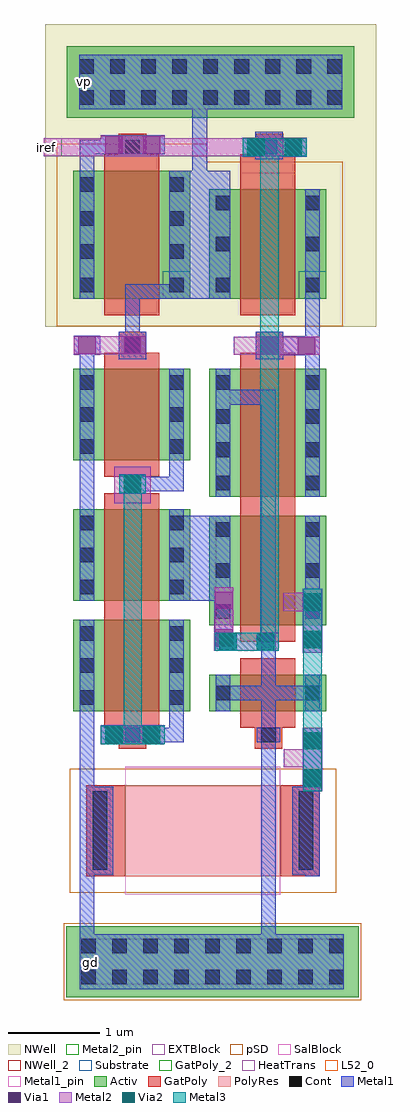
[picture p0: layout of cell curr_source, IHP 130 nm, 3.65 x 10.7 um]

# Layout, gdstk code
from math import pi, radians
import gdstk
lib = gdstk.Library(unit=1e-6, precision=1e-09)
def R(c, l, rs):  # rectangles x0, y0, x1, y1
    for r in rs: c.add(gdstk.rectangle(r[:2], r[2:], *l))
def A(c, l, x, y, w, h, nx, ny, dx, dy):  # array of equal rectangles
    R(c, l, [(x+i*dx, y+j*dy, x+i*dx+w, y+j*dy+h) for i in range(nx) for j in range(ny)])
Activ = (1, 0)
GatPoly = (5, 0)
GatPoly_2 = (5, 2)
Cont = (6, 0)
Metal1 = (8, 0)
Metal1_pin = (8, 2)
Metal2 = (10, 0)
Metal2_pin = (10, 2)
pSD = (14, 0)
Via1 = (19, 0)
SalBlock = (28, 0)
Via2 = (29, 0)
Metal3 = (30, 0)
NWell = (31, 0)
NWell_2 = (31, 2)
Substrate = (40, 0)
HeatTrans = (51, 0)
L52_0 = (52, 0)
EXTBlock = (111, 0)
PolyRes = (128, 0)

via_16 = lib.new_cell('Via$16')
R(via_16, Metal2, [(-0.35,-0.1,0.35,0.1)])
R(via_16, Via2, [(-0.3,-0.095,-0.11,0.095), (0.11,-0.095,0.3,0.095)])
R(via_16, Metal3, [(-0.35,-0.1,0.35,0.1)])

via = lib.new_cell('Via')
R(via, Metal2, [(-0.145,-0.1,0.145,0.1)])
R(via, Via2, [(-0.095,-0.095,0.095,0.095)])
R(via, Metal3, [(-0.145,-0.1,0.145,0.1)])

via_17 = lib.new_cell('Via$17')
R(via_17, Metal1, [(-0.35,-0.105,0.35,0.105)])
R(via_17, Metal2, [(-0.35,-0.1,0.35,0.1)])
R(via_17, Via1, [(-0.3,-0.095,-0.11,0.095), (0.11,-0.095,0.3,0.095)])

nmos = lib.new_cell('nmos')
R(nmos, Activ, [(0,0,0.3,0.3), (0,0,1.28,1.2), (0.98,0,1.28,0.3)])
R(nmos, GatPoly, [(0.34,-0.18,0.94,1.38)])
R(nmos, GatPoly_2, [(0.34,-0.18,0.94,1.38)])
A(nmos, Cont, 0.07, 0.07, 0.16, 0.16, 1, 3, 0, 0.45)
A(nmos, Cont, 1.05, 0.07, 0.16, 0.16, 1, 3, 0, 0.45)
R(nmos, Metal1, [(0.07,0,0.23,1.2), (1.05,0,1.21,1.2)])
R(nmos, Metal1_pin, [(0.07,0,0.23,1.2), (1.05,0,1.21,1.2)])
R(nmos, HeatTrans, [(0.34,-0.18,0.94,1.38)])
nmos.add(gdstk.Label('nmos', (0.64,0.6), layer=63, texttype=0))
nmos.add(gdstk.Label('nmos', (0.64,0.6), layer=51, texttype=0))

via_18 = lib.new_cell('Via$18')
R(via_18, Metal1, [(-0.35,-0.105,0.35,0.105)])
R(via_18, Metal2, [(-0.35,-0.1,0.35,0.1)])
R(via_18, Via1, [(-0.3,-0.095,-0.11,0.095), (0.11,-0.095,0.3,0.095)])

via_8 = lib.new_cell('Via$8')
R(via_8, Metal1, [(-0.145,-0.105,0.145,0.105)])
R(via_8, Metal2, [(-0.145,-0.1,0.145,0.1)])
R(via_8, Via1, [(-0.095,-0.095,0.095,0.095)])

via_19 = lib.new_cell('Via$19')
R(via_19, Metal1, [(-0.35,-0.105,0.35,0.105)])
R(via_19, Metal2, [(-0.35,-0.1,0.35,0.1)])
R(via_19, Via1, [(-0.3,-0.095,-0.11,0.095), (0.11,-0.095,0.3,0.095)])

pmos_1 = lib.new_cell('pmos$1')
R(pmos_1, Activ, [(0,0,0.3,0.3), (0,0,1.28,1.4), (0.98,0,1.28,0.3)])
R(pmos_1, GatPoly, [(0.34,-0.18,0.94,1.58), (0.34,-0.18,0.94,1.58)])
A(pmos_1, Cont, 0.07, 0.07, 0.16, 0.16, 1, 3, 0, 0.365)
A(pmos_1, Cont, 1.05, 0.07, 0.16, 0.16, 1, 3, 0, 0.365)
R(pmos_1, Cont, [(0.07,1.17,0.23,1.33), (1.05,1.17,1.21,1.33)])
R(pmos_1, Metal1, [(0.07,0,0.23,1.4), (0.07,0,0.23,1.4), (1.05,0,1.21,1.4), (1.05,0,1.21,1.4)])
R(pmos_1, pSD, [(-0.18,-0.3,1.46,1.7)])
R(pmos_1, NWell, [(-0.31,-0.31,1.59,1.71)])
R(pmos_1, Substrate, [(0.98,0,1.28,0.3)])
R(pmos_1, HeatTrans, [(0.34,-0.18,0.94,1.58)])
pmos_1.add(gdstk.Label('pmos', (0.64,0.7), layer=63, texttype=0))
pmos_1.add(gdstk.Label('pmos', (0.64,0.7), layer=51, texttype=0))

via_11 = lib.new_cell('Via$11')
R(via_11, Metal1, [(-0.35,-0.105,0.35,0.105)])
R(via_11, Metal2, [(-0.35,-0.1,0.35,0.1)])
R(via_11, Via1, [(-0.3,-0.095,-0.11,0.095), (0.11,-0.095,0.3,0.095)])

via_14 = lib.new_cell('Via$14')
R(via_14, Metal2, [(-0.35,-0.1,0.35,0.1)])
R(via_14, Via2, [(-0.3,-0.095,-0.11,0.095), (0.11,-0.095,0.3,0.095)])
R(via_14, Metal3, [(-0.35,-0.1,0.35,0.1)])

via_7 = lib.new_cell('Via$7')
R(via_7, Metal1, [(-0.145,-0.105,0.145,0.105)])
R(via_7, Metal2, [(-0.145,-0.1,0.145,0.1)])
R(via_7, Via1, [(-0.095,-0.095,0.095,0.095)])

via_6 = lib.new_cell('Via$6')
R(via_6, Metal1, [(-0.145,-0.105,0.145,0.105)])
R(via_6, Metal2, [(-0.145,-0.1,0.145,0.1)])
R(via_6, Via1, [(-0.095,-0.095,0.095,0.095)])

pmos = lib.new_cell('pmos')
R(pmos, Activ, [(0,0,0.3,0.3), (0,0,1.28,1.2), (0.98,0,1.28,0.3)])
R(pmos, GatPoly, [(0.34,-0.18,0.94,1.38), (0.34,-0.18,0.94,1.38)])
A(pmos, Cont, 0.07, 0.07, 0.16, 0.16, 1, 3, 0, 0.45)
A(pmos, Cont, 1.05, 0.07, 0.16, 0.16, 1, 3, 0, 0.45)
R(pmos, Metal1, [(0.07,0,0.23,1.2), (0.07,0,0.23,1.2), (1.05,0,1.21,1.2), (1.05,0,1.21,1.2)])
R(pmos, pSD, [(-0.18,-0.3,1.46,1.5)])
R(pmos, NWell, [(-0.31,-0.31,1.59,1.51)])
R(pmos, Substrate, [(0.98,0,1.28,0.3)])
R(pmos, HeatTrans, [(0.34,-0.18,0.94,1.38)])
pmos.add(gdstk.Label('pmos', (0.64,0.6), layer=63, texttype=0))
pmos.add(gdstk.Label('pmos', (0.64,0.6), layer=51, texttype=0))

ptap1 = lib.new_cell('ptap1')
R(ptap1, Activ, [(0,0,3.2,0.78)])
A(ptap1, Cont, 0.16, 0.14, 0.16, 0.16, 9, 2, 0.34, 0.34)
R(ptap1, Metal1, [(0.16,0.09,3.04,0.69), (0.16,0.14,3.04,0.64)])
R(ptap1, Metal1_pin, [(0.16,0.14,3.04,0.64)])
R(ptap1, pSD, [(-0.03,-0.03,3.23,0.81)])
R(ptap1, Substrate, [(0,0,3.2,0.78)])
ptap1.add(gdstk.Label('sub!', (1.6,0.01), layer=63, texttype=0))
ptap1.add(gdstk.Label('sub!', (1.6,0.01), layer=40, texttype=0))

nmos_2 = lib.new_cell('nmos$2')
R(nmos_2, Activ, [(0,0,0.3,0.3), (0,0,1.28,1.4), (0.98,0,1.28,0.3)])
R(nmos_2, GatPoly, [(0.34,-0.18,0.94,1.58)])
R(nmos_2, GatPoly_2, [(0.34,-0.18,0.94,1.58)])
A(nmos_2, Cont, 0.07, 0.07, 0.16, 0.16, 1, 3, 0, 0.365)
A(nmos_2, Cont, 1.05, 0.07, 0.16, 0.16, 1, 3, 0, 0.365)
R(nmos_2, Cont, [(0.07,1.17,0.23,1.33), (1.05,1.17,1.21,1.33)])
R(nmos_2, Metal1, [(0.07,0,0.23,1.4), (1.05,0,1.21,1.4)])
R(nmos_2, Metal1_pin, [(0.07,0,0.23,1.4), (1.05,0,1.21,1.4)])
R(nmos_2, HeatTrans, [(0.34,-0.18,0.94,1.58)])
nmos_2.add(gdstk.Label('nmos', (0.64,0.7), layer=63, texttype=0))
nmos_2.add(gdstk.Label('nmos', (0.64,0.7), layer=51, texttype=0))

via_12 = lib.new_cell('Via$12')
R(via_12, Metal1, [(-0.35,-0.105,0.35,0.105)])
R(via_12, Metal2, [(-0.35,-0.1,0.35,0.1)])
R(via_12, Via1, [(-0.3,-0.095,-0.11,0.095), (0.11,-0.095,0.3,0.095)])

nmos_1 = lib.new_cell('nmos$1')
R(nmos_1, Activ, [(0,0,0.3,0.3), (0,0,1.28,1), (0.98,0,1.28,0.3)])
R(nmos_1, GatPoly, [(0.34,-0.18,0.94,1.18)])
R(nmos_1, GatPoly_2, [(0.34,-0.18,0.94,1.18)])
A(nmos_1, Cont, 0.07, 0.07, 0.16, 0.16, 1, 3, 0, 0.35)
A(nmos_1, Cont, 1.05, 0.07, 0.16, 0.16, 1, 3, 0, 0.35)
R(nmos_1, Metal1, [(0.07,0,0.23,1), (1.05,0,1.21,1)])
R(nmos_1, Metal1_pin, [(0.07,0,0.23,1), (1.05,0,1.21,1)])
R(nmos_1, HeatTrans, [(0.34,-0.18,0.94,1.18)])
nmos_1.add(gdstk.Label('nmos', (0.64,0.5), layer=63, texttype=0))
nmos_1.add(gdstk.Label('nmos', (0.64,0.5), layer=51, texttype=0))

via_1 = lib.new_cell('Via$1')
R(via_1, GatPoly, [(-0.15,-0.15,0.15,0.15)])
R(via_1, Cont, [(-0.08,-0.08,0.08,0.08)])
R(via_1, Metal1, [(-0.13,-0.08,0.13,0.08)])

nmos_3 = lib.new_cell('nmos$3')
R(nmos_3, Activ, [(0,0,0.3,0.3), (0,0,1.28,0.4), (0.98,0,1.28,0.3)])
R(nmos_3, GatPoly, [(0.34,-0.18,0.94,0.58)])
R(nmos_3, GatPoly_2, [(0.34,-0.18,0.94,0.58)])
R(nmos_3, Cont, [(0.07,0.12,0.23,0.28), (1.05,0.12,1.21,0.28)])
R(nmos_3, Metal1, [(0.07,0,0.23,0.4), (1.05,0,1.21,0.4)])
R(nmos_3, Metal1_pin, [(0.07,0,0.23,0.4), (1.05,0,1.21,0.4)])
R(nmos_3, HeatTrans, [(0.34,-0.18,0.94,0.58)])
nmos_3.add(gdstk.Label('nmos', (0.64,0.2), layer=63, texttype=0))
nmos_3.add(gdstk.Label('nmos', (0.64,0.2), layer=51, texttype=0))

via_15 = lib.new_cell('Via$15')
R(via_15, Metal1, [(-0.35,-0.105,0.35,0.105)])
R(via_15, Metal2, [(-0.35,-0.1,0.35,0.1)])
R(via_15, Via1, [(-0.3,-0.095,-0.11,0.095), (0.11,-0.095,0.3,0.095)])

rppd = lib.new_cell('rppd')
R(rppd, GatPoly, [(0,-0.43,1,-0.2), (0,-0.2,1,0), (0,1.7,1,1.9), (0,1.9,1,2.13)])
R(rppd, Cont, [(0.07,-0.36,0.93,-0.2), (0.07,1.9,0.93,2.06)])
R(rppd, Metal1, [(0.02,-0.43,0.98,-0.13), (0.02,1.83,0.98,2.13)])
R(rppd, Metal1_pin, [(0.02,-0.43,0.98,-0.13), (0.02,1.83,0.98,2.13)])
R(rppd, pSD, [(-0.18,-0.61,1.18,0), (-0.18,0,1.18,1.7), (-0.18,1.7,1.18,2.31)])
R(rppd, SalBlock, [(-0.2,0,1.2,1.7)])
R(rppd, L52_0, [(0,0,1,1.7)])
R(rppd, EXTBlock, [(-0.18,-0.61,1.18,0), (-0.2,0,1.2,1.7), (-0.18,1.7,1.18,2.31)])
R(rppd, PolyRes, [(0,0,1,1.7)])
rppd.add(gdstk.Label('rppd r=509.364', (0.5,0.85), layer=63, texttype=0))
rppd.add(gdstk.Label('rppd', (0.5,0.85), layer=52, texttype=0))

ntap1 = lib.new_cell('ntap1')
R(ntap1, Activ, [(0,0,3.15,0.78)])
A(ntap1, Cont, 0.135, 0.14, 0.16, 0.16, 9, 2, 0.34, 0.34)
R(ntap1, Metal1, [(0.135,0.09,3.015,0.69)])
R(ntap1, Metal1_pin, [(0.135,0.09,3.015,0.69), (0.135,0.14,3.015,0.64)])
R(ntap1, NWell, [(-0.24,-0.24,3.39,1.02), (0,0,3.15,0.78)])
R(ntap1, NWell_2, [(0,0,3.15,0.78)])
ntap1.add(gdstk.Label('well', (1.575,0.01), layer=31, texttype=0))
ntap1.add(gdstk.Label('well', (1.575,0.01), layer=63, texttype=0))

curr_source = lib.new_cell('curr_source')
R(curr_source, GatPoly, [(3.695,6.615,4.295,6.815)])
R(curr_source, Metal1, [(1.935,-1.07,2.305,-0.115), (2.915,1.925,3.585,2.855), (2.365,4.57,2.665,4.87), (3.865,4.57,4.165,4.87), (2.915,5.235,3.585,6.635), (3.86,6.765,4.16,7.065)])
R(curr_source, Metal1_pin, [(1.95,-2.14,2.15,-1.94), (1.95,7.545,2.08,7.675)])
R(curr_source, Metal2, [(3.41,1.375,3.65,1.575), (2.315,2.995,2.715,3.395)])
R(curr_source, Metal2_pin, [(1.54,6.795,1.74,6.995)])
R(curr_source, NWell, [(1.555,4.925,5.185,8.245)])
curr_source.add(gdstk.FlexPath([(4.485,1.88),(4.485,1.705)], 0.16, ends="flush", simple_path=True, layer=8, datatype=0))  # Metal1
curr_source.add(gdstk.FlexPath([(2.365,6.92),(2.515,6.92)], 0.16, ends="flush", simple_path=True, layer=8, datatype=0))  # Metal1
curr_source.add(gdstk.FlexPath([(4.07,6.895),(4.07,6.895)], 0.16, ends="flush", simple_path=True, layer=8, datatype=0))  # Metal1
curr_source.add(gdstk.FlexPath([(2.015,-1.53),(2.015,-2.33)], 0.16, ends="flush", simple_path=True, layer=8, datatype=0))  # Metal1
curr_source.add(gdstk.FlexPath([(4.005,-1.68),(4.005,-2.33)], 0.16, ends="flush", simple_path=True, layer=8, datatype=0))  # Metal1
curr_source.add(gdstk.FlexPath([(4.485,0.335),(4.485,-1.095)], 0.16, ends="flush", simple_path=True, layer=8, datatype=0))  # Metal1
curr_source.add(gdstk.FlexPath([(3.995,0.915),(3.585,0.915),(3.585,0.915)], 0.16, ends="flush", simple_path=True, layer=8, datatype=0))  # Metal1
curr_source.add(gdstk.FlexPath([(3.995,0.915),(4.405,0.915)], 0.16, ends="flush", simple_path=True, layer=8, datatype=0))  # Metal1
curr_source.add(gdstk.FlexPath([(2.515,3.205),(3.075,3.205)], 0.16, ends="flush", simple_path=True, layer=8, datatype=0))  # Metal1
curr_source.add(gdstk.FlexPath([(2.015,2.925),(2.015,3.465)], 0.16, ends="flush", simple_path=True, layer=8, datatype=0))  # Metal1
curr_source.add(gdstk.FlexPath([(4.005,-0.815),(4.005,-1.775)], 0.16, ends="flush", simple_path=True, layer=8, datatype=0))  # Metal1
curr_source.add(gdstk.FlexPath([(2.015,4.465),(2.015,4.62)], 0.16, ends="flush", simple_path=True, layer=8, datatype=0))  # Metal1
curr_source.add(gdstk.FlexPath([(2.645,0.455),(3.075,0.455)], 0.16, ends="flush", simple_path=True, layer=8, datatype=0))  # Metal1
curr_source.add(gdstk.FlexPath([(2.995,3.465),(2.995,3.285)], 0.16, ends="flush", simple_path=True, layer=8, datatype=0))  # Metal1
curr_source.add(gdstk.FlexPath([(3.25,6.635),(3.25,7.315)], 0.16, ends="flush", simple_path=True, layer=8, datatype=0))  # Metal1
curr_source.add(gdstk.FlexPath([(2.995,0.715),(2.995,0.375)], 0.16, ends="flush", simple_path=True, layer=8, datatype=0))  # Metal1
curr_source.add(gdstk.FlexPath([(2.515,0.455),(2.515,0.455)], 0.16, ends="flush", simple_path=True, layer=8, datatype=0))  # Metal1
curr_source.add(gdstk.FlexPath([(4.485,4.72),(4.485,4.72)], 0.16, ends="flush", simple_path=True, layer=8, datatype=0))  # Metal1
curr_source.add(gdstk.FlexPath([(2.515,4.725),(2.515,4.725)], 0.16, ends="flush", simple_path=True, layer=8, datatype=0))  # Metal1
curr_source.add(gdstk.FlexPath([(2.015,6.635),(2.015,6.885),(2.015,6.89),(2.015,6.895),(2.385,6.895),(2.385,6.895),(2.385,6.895)], 0.16, ends="flush", simple_path=True, layer=8, datatype=0))  # Metal1
curr_source.add(gdstk.FlexPath([(2.515,5.15),(2.515,5.395)], 0.16, ends="flush", simple_path=True, layer=8, datatype=0))  # Metal1
curr_source.add(gdstk.FlexPath([(4.485,5.235),(4.485,4.48)], 0.16, ends="flush", simple_path=True, layer=8, datatype=0))  # Metal1
curr_source.add(gdstk.FlexPath([(4.485,4.49),(4.485,4.465)], 0.16, ends="flush", simple_path=True, layer=8, datatype=0))  # Metal1
curr_source.add(gdstk.FlexPath([(2.515,4.805),(2.515,5.2)], 0.16, ends="flush", simple_path=True, layer=8, datatype=0))  # Metal1
curr_source.add(gdstk.FlexPath([(3.575,4.155),(4.005,4.155),(4.005,-0.965)], 0.16, ends="flush", simple_path=True, layer=8, datatype=0))  # Metal1
curr_source.add(gdstk.FlexPath([(2.015,0.715),(2.015,-1.725),(2.015,-1.725)], 0.16, ends="flush", simple_path=True, layer=8, datatype=0))  # Metal1
curr_source.add(gdstk.FlexPath([(2.995,3.34),(2.995,3.125)], 0.16, ends="flush", simple_path=True, layer=8, datatype=0))  # Metal1
curr_source.add(gdstk.FlexPath([(2.915,5.315),(2.435,5.315)], 0.16, ends="flush", simple_path=True, layer=8, datatype=0))  # Metal1
curr_source.add(gdstk.FlexPath([(3.505,1.655),(3.505,1.575)], 0.16, ends="flush", simple_path=True, layer=8, datatype=0))  # Metal1
curr_source.add(gdstk.FlexPath([(4.565,4.72),(3.625,4.72)], 0.2, ends="flush", simple_path=True, layer=10, datatype=0))  # Metal2
curr_source.add(gdstk.FlexPath([(4.485,1.705),(4.485,1.705)], 0.2, ends="flush", simple_path=True, layer=10, datatype=0))  # Metal2
curr_source.add(gdstk.FlexPath([(4.485,0.185),(4.485,0.185)], 0.2, ends="flush", simple_path=True, layer=10, datatype=0))  # Metal2
curr_source.add(gdstk.FlexPath([(4.485,0.2),(4.17,0.2)], 0.2, ends="flush", simple_path=True, layer=10, datatype=0))  # Metal2
curr_source.add(gdstk.FlexPath([(4.485,1.91),(4.165,1.91)], 0.2, ends="flush", simple_path=True, layer=10, datatype=0))  # Metal2
curr_source.add(gdstk.FlexPath([(4.07,6.895),(4.07,6.895)], 0.16, ends="flush", simple_path=True, layer=10, datatype=0))  # Metal2
curr_source.add(gdstk.FlexPath([(4.015,1.475),(3.65,1.475)], 0.2, ends="flush", simple_path=True, layer=10, datatype=0))  # Metal2
curr_source.add(gdstk.FlexPath([(2.515,6.895),(1.54,6.895)], 0.2, ends="flush", simple_path=True, layer=10, datatype=0))  # Metal2
curr_source.add(gdstk.FlexPath([(2.515,6.895),(4.015,6.895)], 0.2, ends="flush", simple_path=True, layer=10, datatype=0))  # Metal2
curr_source.add(gdstk.FlexPath([(2.515,4.725),(1.87,4.725)], 0.2, ends="flush", simple_path=True, layer=10, datatype=0))  # Metal2
curr_source.add(gdstk.FlexPath([(2.515,0.455),(2.515,0.455)], 0.2, ends="flush", simple_path=True, layer=10, datatype=0))  # Metal2
curr_source.add(gdstk.FlexPath([(2.515,3.205),(2.515,3.205)], 0.2, ends="flush", simple_path=True, layer=10, datatype=0))  # Metal2
curr_source.add(gdstk.FlexPath([(4.485,1.48),(4.485,0.335)], 0.2, ends="flush", simple_path=True, layer=30, datatype=0))  # Metal3
curr_source.add(gdstk.FlexPath([(2.515,0.455),(2.515,2.99)], 0.2, ends="flush", simple_path=True, layer=30, datatype=0))  # Metal3
curr_source.add(gdstk.FlexPath([(2.515,2.96),(2.515,3.18)], 0.2, ends="flush", simple_path=True, layer=30, datatype=0))  # Metal3
curr_source.add(gdstk.FlexPath([(4.015,1.58),(4.015,1.475)], 0.2, ends="flush", simple_path=True, layer=30, datatype=0))  # Metal3
curr_source.add(gdstk.FlexPath([(2.515,3.14),(2.515,3.205)], 0.2, ends="flush", simple_path=True, layer=30, datatype=0))  # Metal3
curr_source.add(gdstk.FlexPath([(4.015,6.895),(4.015,1.58)], 0.2, ends="flush", simple_path=True, layer=30, datatype=0))  # Metal3
curr_source.add(gdstk.Reference(via_16, (2.515,0.455)))
curr_source.add(gdstk.Reference(via, (2.515,3.205)))
curr_source.add(gdstk.Reference(via_16, (4.07,6.895)))
curr_source.add(gdstk.Reference(via_17, (4.07,6.895)))
curr_source.add(gdstk.Reference(nmos, (3.355,1.655)))
curr_source.add(gdstk.Reference(via_18, (2.515,6.92)))
curr_source.add(gdstk.Reference(via_8, (2.515,3.205)))
curr_source.add(gdstk.Reference(via_19, (2.515,0.455)))
curr_source.add(gdstk.Reference(pmos_1, (1.865,5.235)))
curr_source.add(gdstk.Reference(via_11, (4.215,4.72)))
curr_source.add(gdstk.Reference(via_14, (3.765,1.475)))
curr_source.add(gdstk.Reference(via_7, (2.515,4.725)))
curr_source.add(gdstk.Reference(via_6, (2.015,4.725)))
curr_source.add(gdstk.Reference(pmos, (3.355,5.235)))
curr_source.add(gdstk.Reference(ptap1, (1.79,-2.42)))
curr_source.add(gdstk.Reference(nmos_2, (3.355,3.065)))
curr_source.add(gdstk.Reference(via_12, (3.515,1.725), rotation=3*pi/2))
curr_source.add(gdstk.Reference(nmos_1, (1.865,0.715)))
curr_source.add(gdstk.Reference(nmos_1, (1.865,1.925)))
curr_source.add(gdstk.Reference(nmos_1, (1.865,3.465)))
curr_source.add(gdstk.Reference(via_1, (2.515,0.455)))
curr_source.add(gdstk.Reference(via_1, (2.515,4.725)))
curr_source.add(gdstk.Reference(via_1, (4.015,4.725)))
curr_source.add(gdstk.Reference(via_1, (2.515,6.895)))
curr_source.add(gdstk.Reference(via_1, (4.015,6.895)))
curr_source.add(gdstk.Reference(nmos_3, (3.355,0.715)))
curr_source.add(gdstk.Reference(via_1, (4.005,0.455)))
curr_source.add(gdstk.Reference(via_15, (4.485,1.705), rotation=3*pi/2))
curr_source.add(gdstk.Reference(via_16, (4.485,1.705), rotation=3*pi/2))
curr_source.add(gdstk.Reference(via_16, (4.485,0.185), rotation=3*pi/2))
curr_source.add(gdstk.Reference(via_15, (4.485,0.185), rotation=3*pi/2))
curr_source.add(gdstk.Reference(rppd, (2.435,-0.095), rotation=3*pi/2))
curr_source.add(gdstk.Reference(ntap1, (1.795,7.22)))
curr_source.add(gdstk.Label('gd', (2.05,-2.04), layer=8, texttype=25))
curr_source.add(gdstk.Label('vp', (1.99,7.61), layer=8, texttype=25))
curr_source.add(gdstk.Label('iref', (1.567,6.897), layer=10, texttype=25))

lib.write_gds('curr_source.gds')
